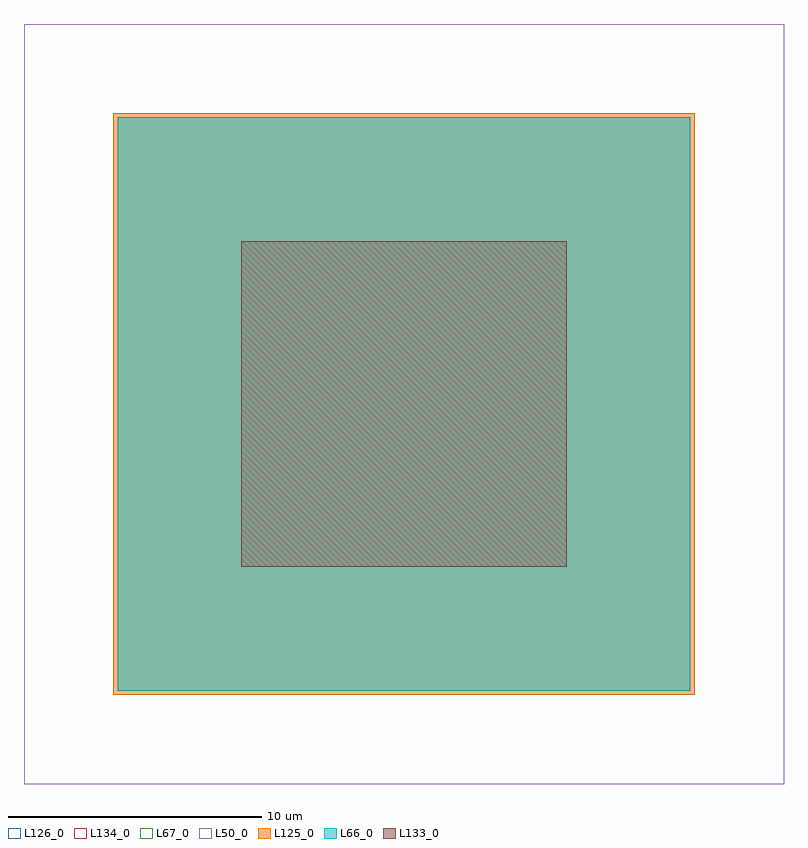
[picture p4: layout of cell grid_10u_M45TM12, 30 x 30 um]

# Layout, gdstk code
import gdstk
lib = gdstk.Library(unit=1e-6, precision=1e-09)
def R(c, l, rs):  # rectangles x0, y0, x1, y1
    for r in rs: c.add(gdstk.rectangle(r[:2], r[2:], *l))
L50_0 = (50, 0)
L66_0 = (66, 0)
L67_0 = (67, 0)
L125_0 = (125, 0)
L126_0 = (126, 0)
L133_0 = (133, 0)
L134_0 = (134, 0)

grid_10u_m45tm12 = lib.new_cell('grid_10u_M45TM12')
R(grid_10u_m45tm12, L50_0, [(-15,-15,15,15)])
R(grid_10u_m45tm12, L66_0, [(-11.295,-11.325,11.295,11.325)])
R(grid_10u_m45tm12, L67_0, [(-15,-15,15,15)])
R(grid_10u_m45tm12, L125_0, [(-11.47,-11.47,11.47,11.47)])
R(grid_10u_m45tm12, L126_0, [(-15,-15,15,15)])
R(grid_10u_m45tm12, L133_0, [(-6.43,-6.43,6.43,6.43)])
R(grid_10u_m45tm12, L134_0, [(-15,-15,15,15)])

lib.write_gds('grid_10u_M45TM12.gds')
